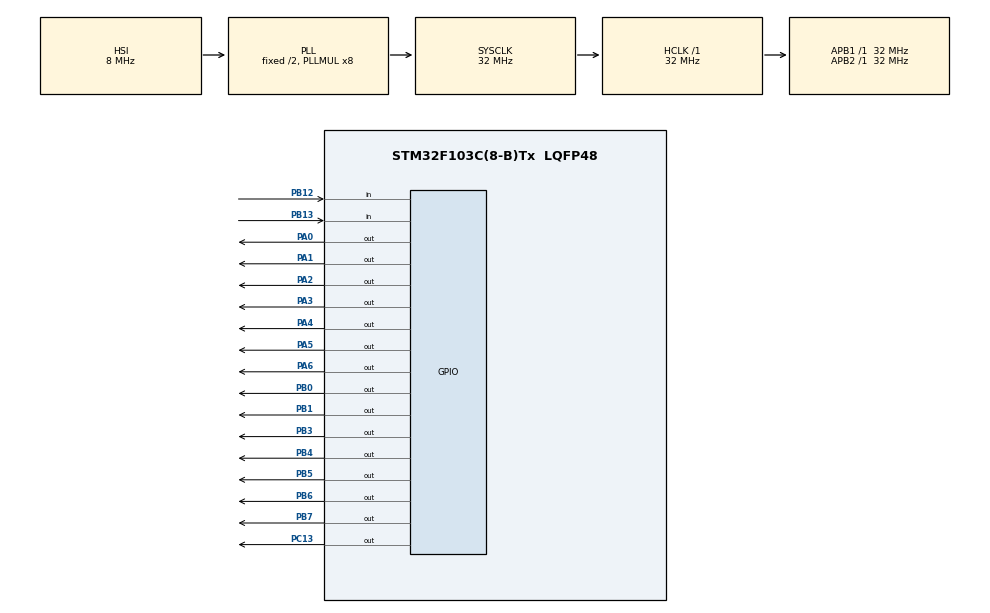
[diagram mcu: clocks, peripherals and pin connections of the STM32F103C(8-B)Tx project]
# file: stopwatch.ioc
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Mcu.Family=STM32F1
Mcu.Name=STM32F103C(8-B)Tx
Mcu.Package=LQFP48
NVIC.PriorityGroup=NVIC_PRIORITYGROUP_4
NVIC.TIM2_IRQn=true\:0\:0\:false\:false\:true\:true\:true\:true
PA0-WKUP.PinState=GPIO_PIN_SET
PA0-WKUP.Signal=GPIO_Output
PA1.PinState=GPIO_PIN_SET
PA1.Signal=GPIO_Output
PA13.Mode=Serial_Wire
PA13.Signal=SYS_JTMS-SWDIO
PA14.Mode=Serial_Wire
PA14.Signal=SYS_JTCK-SWCLK
PA2.PinState=GPIO_PIN_SET
PA2.Signal=GPIO_Output
PA3.PinState=GPIO_PIN_SET
PA3.Signal=GPIO_Output
PA4.PinState=GPIO_PIN_SET
PA4.Signal=GPIO_Output
PA5.PinState=GPIO_PIN_SET
PA5.Signal=GPIO_Output
PA6.PinState=GPIO_PIN_SET
PA6.Signal=GPIO_Output
PB0.PinState=GPIO_PIN_SET
PB0.Signal=GPIO_Output
PB1.PinState=GPIO_PIN_SET
PB1.Signal=GPIO_Output
PB12.GPIO_PuPd=GPIO_PULLUP
PB12.Signal=GPIO_Input
PB13.GPIO_PuPd=GPIO_PULLUP
PB13.Signal=GPIO_Input
PB3.PinState=GPIO_PIN_SET
PB3.Signal=GPIO_Output
PB4.PinState=GPIO_PIN_SET
PB4.Signal=GPIO_Output
PB5.PinState=GPIO_PIN_SET
PB5.Signal=GPIO_Output
PB6.PinState=GPIO_PIN_SET
PB6.Signal=GPIO_Output
PB7.PinState=GPIO_PIN_SET
PB7.Signal=GPIO_Output
PC13-TAMPER-RTC.PinState=GPIO_PIN_SET
PC13-TAMPER-RTC.Signal=GPIO_Output
PD0-OSC_IN.Mode=HSE-External-Oscillator
PD0-OSC_IN.Signal=RCC_OSC_IN
PD1-OSC_OUT.Mode=HSE-External-Oscillator
PD1-OSC_OUT.Signal=RCC_OSC_OUT
ProjectManager.HeapSize=0x200
ProjectManager.StackSize=0x400
ProjectManager.TargetToolchain=STM32CubeIDE
RCC.AHBFreq_Value=32000000
RCC.APB1Freq_Value=32000000
RCC.APB1TimFreq_Value=32000000
RCC.APB2Freq_Value=32000000
RCC.APB2TimFreq_Value=32000000
RCC.HCLKFreq_Value=32000000
RCC.PLLMUL=RCC_PLL_MUL8
RCC.SYSCLKFreq_VALUE=32000000
RCC.SYSCLKSource=RCC_SYSCLKSOURCE_PLLCLK
RCC.USBFreq_Value=32000000
TIM2.Period=10000-1
TIM2.Prescaler=3200-1
VP_TIM2_VS_ClockSourceINT.Mode=Internal
board=custom

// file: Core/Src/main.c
/* USER CODE BEGIN Header */
/**
  ******************************************************************************
  * @file           : main.c
  * @brief          : Main program body
  ******************************************************************************
  * @attention
  *
  * Copyright (c) 2026 STMicroelectronics.
  * All rights reserved.
  *
  * This software is licensed under terms that can be found in the LICENSE file
  * in the root directory of this software component.
  * If no LICENSE file comes with this software, it is provided AS-IS.
  *
  ******************************************************************************
  */
/* USER CODE END Header */
#include "main.h"

TIM_HandleTypeDef htim2;

/* USER CODE BEGIN PV */
volatile uint8_t counter = 0;
volatile uint8_t is_running = 0; // 0 = Stopped/Paused, 1 = Running

// Common Anode Map (0 = ON, 1 = OFF)
// Order: {A, B, C, D, E, F, G}
const uint8_t segment_map[10][7] = {
    {0, 0, 0, 0, 0, 0, 1}, // 0
    {1, 0, 0, 1, 1, 1, 1}, // 1
    {0, 0, 1, 0, 0, 1, 0}, // 2
    {0, 0, 0, 0, 1, 1, 0}, // 3
    {1, 0, 0, 1, 1, 0, 0}, // 4
    {0, 1, 0, 0, 1, 0, 0}, // 5
    {0, 1, 0, 0, 0, 0, 0}, // 6
    {0, 0, 0, 1, 1, 1, 1}, // 7
    {0, 0, 0, 0, 0, 0, 0}, // 8
    {0, 0, 0, 0, 1, 0, 0}  // 9
};
/* USER CODE END PV */

void SystemClock_Config(void);
static void MX_GPIO_Init(void);
static void MX_TIM2_Init(void);

/* USER CODE BEGIN 0 */
void Display_Number(uint8_t number) {
    if (number > 99) return;
    uint8_t tens = number / 10;
    uint8_t units = number % 10;

    // Write to Tens Digit (PA0 to PA6)
    HAL_GPIO_WritePin(GPIOA, GPIO_PIN_0, segment_map[tens][0] ? GPIO_PIN_SET : GPIO_PIN_RESET); // A
    HAL_GPIO_WritePin(GPIOA, GPIO_PIN_1, segment_map[tens][1] ? GPIO_PIN_SET : GPIO_PIN_RESET); // B
    HAL_GPIO_WritePin(GPIOA, GPIO_PIN_2, segment_map[tens][2] ? GPIO_PIN_SET : GPIO_PIN_RESET); // C
    HAL_GPIO_WritePin(GPIOA, GPIO_PIN_3, segment_map[tens][3] ? GPIO_PIN_SET : GPIO_PIN_RESET); // D
    HAL_GPIO_WritePin(GPIOA, GPIO_PIN_4, segment_map[tens][4] ? GPIO_PIN_SET : GPIO_PIN_RESET); // E
    HAL_GPIO_WritePin(GPIOA, GPIO_PIN_5, segment_map[tens][5] ? GPIO_PIN_SET : GPIO_PIN_RESET); // F
    HAL_GPIO_WritePin(GPIOA, GPIO_PIN_6, segment_map[tens][6] ? GPIO_PIN_SET : GPIO_PIN_RESET); // G

    // Write to Units Digit (PB0, PB1, PB7, PB3, PB4, PB5, PB6) -> Note PB7 is segment C
    HAL_GPIO_WritePin(GPIOB, GPIO_PIN_0, segment_map[units][0] ? GPIO_PIN_SET : GPIO_PIN_RESET); // A
    HAL_GPIO_WritePin(GPIOB, GPIO_PIN_1, segment_map[units][1] ? GPIO_PIN_SET : GPIO_PIN_RESET); // B
    HAL_GPIO_WritePin(GPIOB, GPIO_PIN_7, segment_map[units][2] ? GPIO_PIN_SET : GPIO_PIN_RESET); // C
    HAL_GPIO_WritePin(GPIOB, GPIO_PIN_3, segment_map[units][3] ? GPIO_PIN_SET : GPIO_PIN_RESET); // D
    HAL_GPIO_WritePin(GPIOB, GPIO_PIN_4, segment_map[units][4] ? GPIO_PIN_SET : GPIO_PIN_RESET); // E
    HAL_GPIO_WritePin(GPIOB, GPIO_PIN_5, segment_map[units][5] ? GPIO_PIN_SET : GPIO_PIN_RESET); // F
    HAL_GPIO_WritePin(GPIOB, GPIO_PIN_6, segment_map[units][6] ? GPIO_PIN_SET : GPIO_PIN_RESET); // G
}
/* USER CODE END 0 */

int main(void)
{

  /* MCU Configuration--------------------------------------------------------*/

  /* Reset of all peripherals, Initializes the Flash interface and the Systick. */
  HAL_Init();

  /* Configure the system clock */
  SystemClock_Config();

  /* Initialize all configured peripherals */
  MX_GPIO_Init();
  MX_TIM2_Init();
  /* USER CODE BEGIN 2 */
  HAL_TIM_Base_Start_IT(&htim2); // Start Timer 2 Interrupts
    Display_Number(counter);       // Initial display of "00"
  /* USER CODE END 2 */

  /* Infinite loop */
    while (1)
      {

    /* USER CODE BEGIN 3 */

          // Constantly update the display with the current counter value
          Display_Number(counter);

          // ---------------------------------------------------------
          // START / PAUSE / RESUME BUTTON (PB12)
          // ---------------------------------------------------------
          if (HAL_GPIO_ReadPin(GPIOB, GPIO_PIN_12) == GPIO_PIN_RESET) {
              HAL_Delay(50); // 50ms Debounce
              if (HAL_GPIO_ReadPin(GPIOB, GPIO_PIN_12) == GPIO_PIN_RESET) {

                  if (counter < 99) { // Only toggle if we haven't reached the end
                      is_running = !is_running;
                  }

                  // Wait until the user physically lets go of the button
                  while(HAL_GPIO_ReadPin(GPIOB, GPIO_PIN_12) == GPIO_PIN_RESET);
              }
          }

                // ---------------------------------------------------------
                // RESET BUTTON (PB13)
                // ---------------------------------------------------------
                if (HAL_GPIO_ReadPin(GPIOB, GPIO_PIN_13) == GPIO_PIN_RESET) {
                    HAL_Delay(50);
                    if (HAL_GPIO_ReadPin(GPIOB, GPIO_PIN_13) == GPIO_PIN_RESET) {

                        is_running = 0;
                        counter = 0;

                        // Active-Low: Write SET (3.3V) to turn the PC13 LED OFF
                        HAL_GPIO_WritePin(GPIOC, GPIO_PIN_13, GPIO_PIN_SET);

                        while(HAL_GPIO_ReadPin(GPIOB, GPIO_PIN_13) == GPIO_PIN_RESET);
                    }
                }
      }
  /* USER CODE END 3 */
}

void SystemClock_Config(void)
{
  RCC_OscInitTypeDef RCC_OscInitStruct = {0};
  RCC_ClkInitTypeDef RCC_ClkInitStruct = {0};

  /** Initializes the RCC Oscillators according to the specified parameters
  * in the RCC_OscInitTypeDef structure.
  */
  RCC_OscInitStruct.OscillatorType = RCC_OSCILLATORTYPE_HSI;
  RCC_OscInitStruct.HSIState = RCC_HSI_ON;
  RCC_OscInitStruct.HSICalibrationValue = RCC_HSICALIBRATION_DEFAULT;
  RCC_OscInitStruct.PLL.PLLState = RCC_PLL_ON;
  RCC_OscInitStruct.PLL.PLLSource = RCC_PLLSOURCE_HSI_DIV2;
  RCC_OscInitStruct.PLL.PLLMUL = RCC_PLL_MUL8;
  if (HAL_RCC_OscConfig(&RCC_OscInitStruct) != HAL_OK)
  {
    Error_Handler();
  }

  /** Initializes the CPU, AHB and APB buses clocks
  */
  RCC_ClkInitStruct.ClockType = RCC_CLOCKTYPE_HCLK|RCC_CLOCKTYPE_SYSCLK
                              |RCC_CLOCKTYPE_PCLK1|RCC_CLOCKTYPE_PCLK2;
  RCC_ClkInitStruct.SYSCLKSource = RCC_SYSCLKSOURCE_PLLCLK;
  RCC_ClkInitStruct.AHBCLKDivider = RCC_SYSCLK_DIV1;
  RCC_ClkInitStruct.APB1CLKDivider = RCC_HCLK_DIV1;
  RCC_ClkInitStruct.APB2CLKDivider = RCC_HCLK_DIV1;

  if (HAL_RCC_ClockConfig(&RCC_ClkInitStruct, FLASH_LATENCY_1) != HAL_OK)
  {
    Error_Handler();
  }
}

static void MX_TIM2_Init(void)
{

  TIM_ClockConfigTypeDef sClockSourceConfig = {0};
  TIM_MasterConfigTypeDef sMasterConfig = {0};

  htim2.Instance = TIM2;
  htim2.Init.Prescaler = 3200-1;
  htim2.Init.CounterMode = TIM_COUNTERMODE_UP;
  htim2.Init.Period = 10000-1;
  htim2.Init.ClockDivision = TIM_CLOCKDIVISION_DIV1;
  htim2.Init.AutoReloadPreload = TIM_AUTORELOAD_PRELOAD_DISABLE;
  if (HAL_TIM_Base_Init(&htim2) != HAL_OK)
  {
    Error_Handler();
  }
  sClockSourceConfig.ClockSource = TIM_CLOCKSOURCE_INTERNAL;
  if (HAL_TIM_ConfigClockSource(&htim2, &sClockSourceConfig) != HAL_OK)
  {
    Error_Handler();
  }
  sMasterConfig.MasterOutputTrigger = TIM_TRGO_RESET;
  sMasterConfig.MasterSlaveMode = TIM_MASTERSLAVEMODE_DISABLE;
  if (HAL_TIMEx_MasterConfigSynchronization(&htim2, &sMasterConfig) != HAL_OK)
  {
    Error_Handler();
  }

}

static void MX_GPIO_Init(void)
{
  GPIO_InitTypeDef GPIO_InitStruct = {0};

  /* GPIO Ports Clock Enable */
  __HAL_RCC_GPIOC_CLK_ENABLE();
  __HAL_RCC_GPIOD_CLK_ENABLE();
  __HAL_RCC_GPIOA_CLK_ENABLE();
  __HAL_RCC_GPIOB_CLK_ENABLE();

  /*Configure GPIO pin Output Level */
  HAL_GPIO_WritePin(GPIOC, GPIO_PIN_13, GPIO_PIN_SET);

  /*Configure GPIO pin Output Level */
  HAL_GPIO_WritePin(GPIOA, GPIO_PIN_0|GPIO_PIN_1|GPIO_PIN_2|GPIO_PIN_3
                          |GPIO_PIN_4|GPIO_PIN_5|GPIO_PIN_6, GPIO_PIN_SET);

  /*Configure GPIO pin Output Level */
  HAL_GPIO_WritePin(GPIOB, GPIO_PIN_0|GPIO_PIN_1|GPIO_PIN_3|GPIO_PIN_4
                          |GPIO_PIN_5|GPIO_PIN_6|GPIO_PIN_7, GPIO_PIN_SET);

  /*Configure GPIO pin : PC13 */
  GPIO_InitStruct.Pin = GPIO_PIN_13;
  GPIO_InitStruct.Mode = GPIO_MODE_OUTPUT_PP;
  GPIO_InitStruct.Pull = GPIO_NOPULL;
  GPIO_InitStruct.Speed = GPIO_SPEED_FREQ_LOW;
  HAL_GPIO_Init(GPIOC, &GPIO_InitStruct);

  /*Configure GPIO pins : PA0 PA1 PA2 PA3
                           PA4 PA5 PA6 */
  GPIO_InitStruct.Pin = GPIO_PIN_0|GPIO_PIN_1|GPIO_PIN_2|GPIO_PIN_3
                          |GPIO_PIN_4|GPIO_PIN_5|GPIO_PIN_6;
  GPIO_InitStruct.Mode = GPIO_MODE_OUTPUT_PP;
  GPIO_InitStruct.Pull = GPIO_NOPULL;
  GPIO_InitStruct.Speed = GPIO_SPEED_FREQ_LOW;
  HAL_GPIO_Init(GPIOA, &GPIO_InitStruct);

  /*Configure GPIO pins : PB0 PB1 PB3 PB4
                           PB5 PB6 PB7 */
  GPIO_InitStruct.Pin = GPIO_PIN_0|GPIO_PIN_1|GPIO_PIN_3|GPIO_PIN_4
                          |GPIO_PIN_5|GPIO_PIN_6|GPIO_PIN_7;
  GPIO_InitStruct.Mode = GPIO_MODE_OUTPUT_PP;
  GPIO_InitStruct.Pull = GPIO_NOPULL;
  GPIO_InitStruct.Speed = GPIO_SPEED_FREQ_LOW;
  HAL_GPIO_Init(GPIOB, &GPIO_InitStruct);

  /*Configure GPIO pins : PB12 PB13 */
  GPIO_InitStruct.Pin = GPIO_PIN_12|GPIO_PIN_13;
  GPIO_InitStruct.Mode = GPIO_MODE_INPUT;
  GPIO_InitStruct.Pull = GPIO_PULLUP;
  HAL_GPIO_Init(GPIOB, &GPIO_InitStruct);

}

/* USER CODE BEGIN 4 */
void HAL_TIM_PeriodElapsedCallback(TIM_HandleTypeDef *htim) {
    if (htim->Instance == TIM2) {
        if (is_running) {
            counter++;

            if (counter >= 99) {
                counter = 99;
                is_running = 0;

                // Active-Low: Write RESET (0V) to turn the PC13 LED ON
                HAL_GPIO_WritePin(GPIOC, GPIO_PIN_13, GPIO_PIN_RESET);
            }
        }
    }
}
/* USER CODE END 4 */

void Error_Handler(void)
{
  __disable_irq();
  while (1)
  {
  }
}
